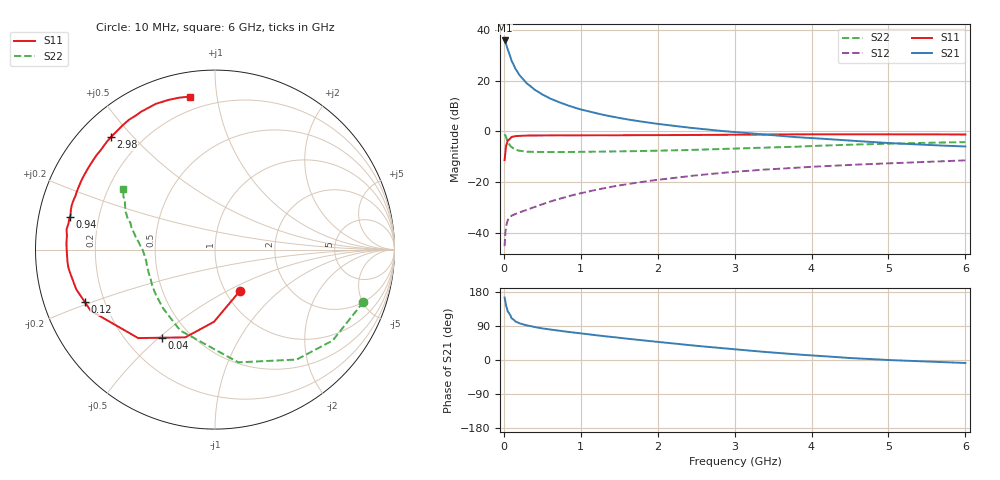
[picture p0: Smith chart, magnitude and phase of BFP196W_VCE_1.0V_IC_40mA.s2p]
! Infineon Technologies  Discrete & RF Semiconductors
! BFP196W
! VCE = 1.0 V,  IC =  40mA
! Common Emitter S-Parameters:  Jan 2016
# GHz  S  MA  R  50
!  f  S11  S21  S12  S22
! GHz  MAG  ANG  MAG  ANG  MAG  ANG  MAG  ANG
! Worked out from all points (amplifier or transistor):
!   210 points, 10 MHz to 6 GHz, reference 50 ohm
!   highest |S21| = 35.8 dB at 10 MHz (marker M1)
!   |S21| within 3 dB of that: start of sweep to 44.83 MHz
!   unconditionally stable (mu >= 1): 584.1 MHz to 3.559 GHz; 3.657 GHz to 3.854 GHz
!   at 185 MHz: K = 0.53, MSG = 27.7 dB, |S12| = -32.3 dB
!   at 1.52 GHz: K = 1.14, MAG = 10.9 dB, |S12| = -21.3 dB
!   at 6 GHz: K = 1.00, MSG = 2.7 dB, |S12| = -11.5 dB
!   S11 on the Smith chart (normalised r, x): 10 MHz: 1.16, -0.58; 40 MHz: 0.35, -0.51; 120 MHz: 0.13, -0.19; 940 MHz: 0.09, +0.11; 2.98 GHz: 0.09, +0.43; 6 GHz: 0.12, +0.84
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0.01  0.2695 -59.4  62 165.0  0.0054 74.7  0.8769 -19.4
0.02  0.4023 -90.8  58.48 153.6  0.01 65.9  0.8285 -37.7
0.03  0.5163 -108.7  52.72 143.3  0.0134 57.3  0.7631 -53.4
0.04  0.5738 -121.2  46.59 136.7  0.0154 50.6  0.6859 -64.8
0.05  0.6531 -131.0  41.26 128.2  0.0176 45.5  0.6415 -78.3
0.1  0.772 -153.8  24.73 110.3  0.0215 35.6  0.4908 -113.3
0.12  0.7819 -158.0  21.66 107.5  0.0222 35.0  0.4632 -120.2
0.15  0.8043 -164.1  17.18 101.6  0.0233 34.2  0.4361 -131.8
0.2  0.8133 -169.1  13.02 97.1  0.0249 36.5  0.4144 -142.6
0.26  0.823 -173.2  10.18 93.2  0.0269 38.8  0.4025 -150.4
0.3  0.8248 -175.4  8.762 91.2  0.0283 41.3  0.3952 -154.6
0.4  0.8264 -179.6  6.615 86.8  0.032 45.7  0.3915 -160.8
0.5  0.8285 177.4  5.327 83.4  0.0362 49.2  0.3899 -165.0
0.7  0.8348 172.2  3.841 77.8  0.0454 54.3  0.3881 -170.1
0.94  0.8289 167.4  2.871 71.7  0.057 57.2  0.3918 -173.6
1.02  0.8286 166.0  2.649 69.8  0.0608 58.0  0.3928 -174.5
2.02  0.8399 148.2  1.388 47.4  0.1113 56.0  0.4139 177.5
2.98  0.854 132.8  0.968 28.7  0.1576 48.4  0.4541 169.7
3.1  0.856 130.9  0.936 26.5  0.1628 47.2  0.46 168.6
4.1  0.8717 117.1  0.719 10.8  0.2027 38.4  0.5183 160.1
5.1  0.8724 106.5  0.576 -0.9  0.2363 30.2  0.5722 151.6
6  0.8643 99.4  0.501 -7.8  0.2666 23.7  0.6108 146.7
